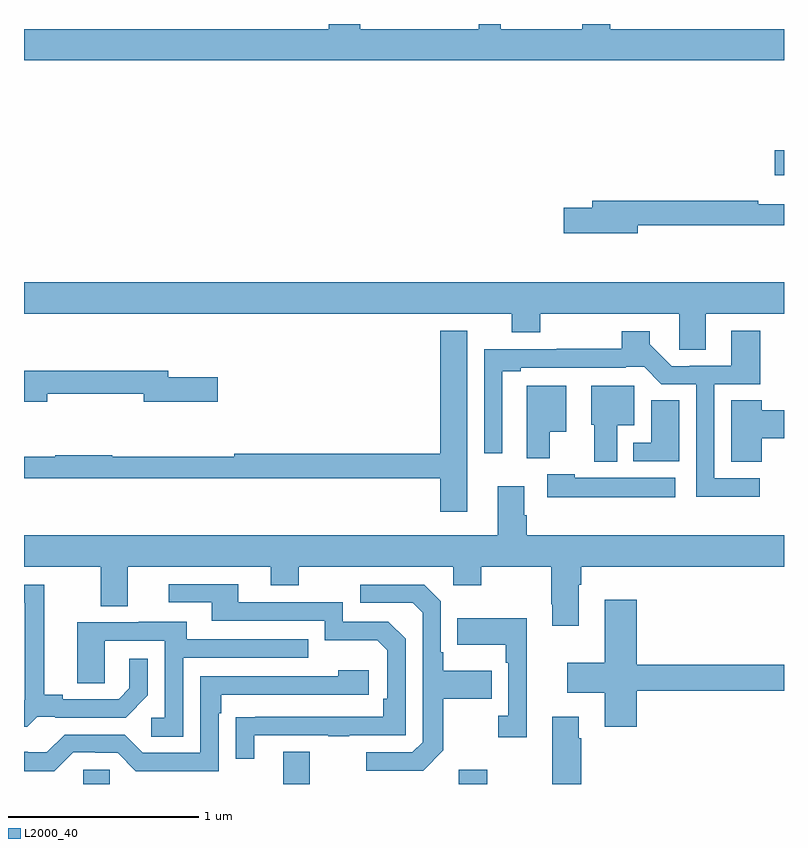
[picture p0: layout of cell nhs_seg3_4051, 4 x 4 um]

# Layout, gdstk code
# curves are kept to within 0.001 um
import gdstk
lib = gdstk.Library(unit=1e-6, precision=1e-09)
def R(c, l, rs):  # rectangles x0, y0, x1, y1
    for r in rs: c.add(gdstk.rectangle(r[:2], r[2:], *l))
def P(c, l, *ps):  # polygons
    for p in ps: c.add(gdstk.Polygon(p, *l))
L2000_40 = (2000, 40)

nhs_seg3_4051 = lib.new_cell('nhs_seg3_4051')
R(nhs_seg3_4051, L2000_40, [(323.313,738.4,323.451,738.474), (324.365,738.4,324.505,738.571), (325.289,738.4,325.437,738.475), (326.952,741.605,327,741.735)])
P(nhs_seg3_4051, L2000_40, [(327,742.372),(326.085,742.372),(326.085,742.4),(325.937,742.4),(325.937,742.372),(325.51,742.372),(325.51,742.4),(325.393,742.4),(325.393,742.372),(324.77,742.372),(324.77,742.4),(324.605,742.4),(324.605,742.372),(323,742.372),(323,742.208),(327,742.208)],
  [(326.23,741.342),(327,741.342),(327,741.451),(326.864,741.451),(326.864,741.47),(325.991,741.47),(325.991,741.434),(325.842,741.434),(325.842,741.299),(326.23,741.299)],
  [(326.587,740.876),(327,740.876),(327,741.04),(323,741.04),(323,740.876),(325.568,740.876),(325.568,740.777),(325.716,740.777),(325.716,740.876),(326.448,740.876),(326.448,740.686),(326.587,740.686)],
  [(326.872,740.01),(326.634,740.01),(326.634,740.505),(326.874,740.505),(326.874,740.785),(326.723,740.785),(326.723,740.601),(326.503,740.601),(326.503,740.598),(326.409,740.598),(326.293,740.714),(326.293,740.782),(326.146,740.782),(326.146,740.69),(325.804,740.69),(325.804,740.688),(325.422,740.688),(325.422,740.142),(325.518,740.142),(325.518,740.572),(325.615,740.572),(325.615,740.592),(326.168,740.592),(326.168,740.595),(326.264,740.595),(326.354,740.505),(326.538,740.505),(326.538,739.913),(326.872,739.913)],
  [(325.333,740.785),(325.19,740.785),(325.19,740.138),(324.106,740.138),(324.106,740.123),(323.465,740.123),(323.465,740.131),(323.165,740.131),(323.165,740.123),(323,740.123),(323,740.01),(325.19,740.01),(325.19,739.833),(325.333,739.833)],
  [(323.122,740.454),(323.63,740.454),(323.63,740.411),(324.019,740.411),(324.019,740.541),(323.758,740.541),(323.758,740.575),(323,740.575),(323,740.411),(323.122,740.411)],
  [(325.768,740.255),(325.855,740.255),(325.855,740.497),(325.646,740.497),(325.646,740.114),(325.768,740.114)],
  [(326.122,740.288),(326.212,740.288),(326.212,740.497),(325.985,740.497),(325.985,740.292),(326,740.292),(326,740.096),(326.122,740.096)],
  [(326.449,740.42),(326.3,740.42),(326.3,740.196),(326.207,740.196),(326.207,740.1),(326.449,740.1)],
  [(326.884,740.219),(327,740.219),(327,740.366),(326.884,740.366),(326.884,740.42),(326.723,740.42),(326.723,740.095),(326.884,740.095)],
  [(326.428,740.011),(325.899,740.011),(325.899,740.029),(325.755,740.029),(325.755,739.91),(326.428,739.91)],
  [(325.921,739.448),(325.934,739.448),(325.934,739.544),(327,739.544),(327,739.708),(325.646,739.708),(325.646,739.814),(325.633,739.814),(325.633,739.966),(325.493,739.966),(325.493,739.708),(323,739.708),(323,739.544),(323.405,739.544),(323.405,739.336),(323.545,739.336),(323.545,739.544),(324.299,739.544),(324.299,739.445),(324.447,739.445),(324.447,739.544),(325.26,739.544),(325.26,739.445),(325.407,739.445),(325.407,739.544),(325.774,739.544),(325.774,739.345),(325.781,739.345),(325.781,739.233),(325.921,739.233)],
  [(324.211,738.657),(324.601,738.657),(324.601,738.652),(324.713,738.652),(324.713,738.657),(325.008,738.657),(325.008,739.164),(324.918,739.254),(324.678,739.254),(324.678,739.356),(324.127,739.356),(324.127,739.452),(323.763,739.452),(323.763,739.356),(323.987,739.356),(323.987,739.26),(324.582,739.26),(324.582,739.157),(324.859,739.157),(324.912,739.104),(324.912,738.85),(324.892,738.85),(324.892,738.753),(324.115,738.752),(324.115,738.534),(324.211,738.534)],
  [(325.207,738.577),(325.207,738.85),(325.463,738.85),(325.463,738.997),(325.207,738.997),(325.207,739.093),(325.194,739.093),(325.194,739.362),(325.107,739.449),(324.771,739.449),(324.771,739.353),(325.047,739.353),(325.098,739.302),(325.098,738.621),(325.044,738.567),(324.801,738.567),(324.801,738.471),(325.101,738.471)],
  [(323.07,738.753),(323.164,738.753),(323.164,738.75),(323.536,738.75),(323.652,738.866),(323.652,739.06),(323.555,739.06),(323.555,738.903),(323.498,738.846),(323.203,738.846),(323.203,738.869),(323.107,738.869),(323.107,739.449),(323,739.449),(323,739.353),(323.003,739.353),(323.003,738.845),(323,738.842),(323,738.701),(323.018,738.701)],
  [(326.225,738.892),(327,738.892),(327,739.028),(326.225,739.028),(326.225,739.369),(326.057,739.369),(326.057,739.039),(325.86,739.039),(325.86,738.881),(326.057,738.881),(326.057,738.702),(326.225,738.702)],
  [(325.646,739.273),(325.279,739.273),(325.279,739.133),(325.536,739.133),(325.536,739.037),(325.548,739.037),(325.548,738.758),(325.497,738.758),(325.497,738.645),(325.646,738.645)],
  [(323.838,739.065),(324.497,739.065),(324.497,739.161),(323.857,739.161),(323.857,739.255),(323.603,739.255),(323.603,739.251),(323.279,739.251),(323.279,738.931),(323.424,738.931),(323.424,739.155),(323.742,739.155),(323.742,738.75),(323.67,738.75),(323.67,738.649),(323.838,738.649)],
  [(323.259,738.567),(323.375,738.567),(323.375,738.564),(323.493,738.564),(323.589,738.468),(324.024,738.468),(324.024,738.773),(324.037,738.773),(324.037,738.87),(324.814,738.87),(324.814,739),(324.653,739),(324.653,738.966),(323.928,738.966),(323.928,738.564),(323.625,738.564),(323.529,738.66),(323.214,738.66),(323.121,738.567),(323.021,738.567),(323.021,738.571),(323,738.571),(323,738.467),(323.159,738.467)],
  [(325.934,738.641),(325.921,738.641),(325.921,738.754),(325.781,738.754),(325.781,738.4),(325.934,738.4)])

lib.write_gds('nhs_seg3_4051.gds')
